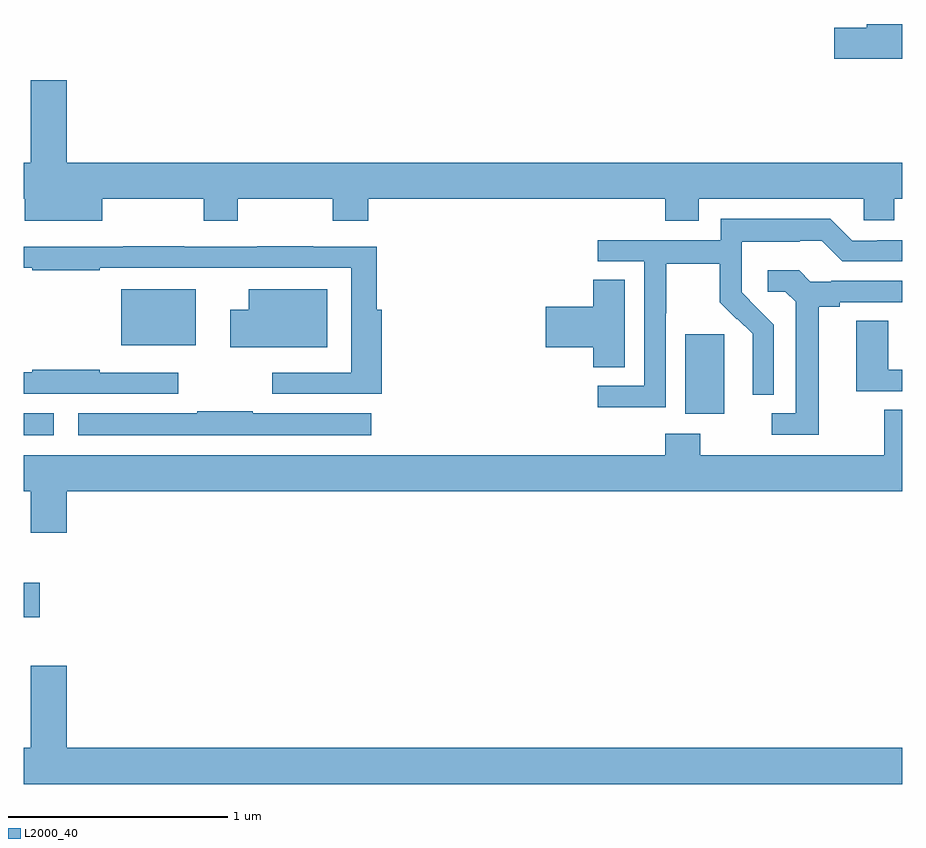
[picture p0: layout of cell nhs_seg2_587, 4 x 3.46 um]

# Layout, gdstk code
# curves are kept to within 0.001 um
import gdstk
lib = gdstk.Library(unit=1e-6, precision=1e-09)
def R(c, l, rs):  # rectangles x0, y0, x1, y1
    for r in rs: c.add(gdstk.rectangle(r[:2], r[2:], *l))
def P(c, l, *ps):  # polygons
    for p in ps: c.add(gdstk.Polygon(p, *l))
L2000_40 = (2000, 40)

nhs_seg2_587 = lib.new_cell('nhs_seg2_587')
R(nhs_seg2_587, L2000_40, [(141,611.099,141.073,611.257), (141,611.927,141.136,612.028), (144.011,612.026,144.19,612.387), (141.443,612.338,141.784,612.592)])
P(nhs_seg2_587, L2000_40, [(145,613.8),(144.839,613.8),(144.839,613.784),(144.69,613.784),(144.69,613.642),(145,613.642)],
  [(141.358,613.004),(141.82,613.004),(141.82,612.905),(141.975,612.905),(141.975,613.004),(142.408,613.004),(142.408,612.905),(142.568,612.905),(142.568,613.004),(143.921,613.004),(143.921,612.905),(144.073,612.905),(144.073,613.004),(144.825,613.004),(144.825,612.906),(144.963,612.906),(144.963,613.004),(145,613.004),(145,613.168),(141.196,613.168),(141.196,613.543),(141.032,613.543),(141.032,613.168),(141,613.168),(141,613.004),(141.005,613.004),(141.005,612.905),(141.358,612.905)],
  [(143.922,612.484),(143.925,612.484),(143.925,612.708),(144.169,612.708),(144.169,612.533),(144.246,612.456),(144.249,612.459),(144.32,612.389),(144.32,612.266),(144.318,612.266),(144.318,612.112),(144.414,612.112),(144.414,612.43),(144.268,612.578),(144.268,612.675),(144.27,612.675),(144.27,612.809),(144.533,612.809),(144.533,612.813),(144.633,612.813),(144.726,612.72),(145,612.72),(145,612.816),(144.887,612.816),(144.887,612.813),(144.771,612.813),(144.671,612.913),(144.174,612.913),(144.174,612.816),(143.613,612.816),(143.613,612.72),(143.826,612.72),(143.826,612.153),(143.613,612.153),(143.613,612.055),(143.922,612.055)],
  [(142.631,612.499),(142.607,612.499),(142.607,612.786),(142.319,612.786),(142.319,612.788),(142.063,612.788),(142.063,612.786),(141.731,612.786),(141.731,612.788),(141.454,612.788),(141.454,612.786),(141,612.786),(141,612.69),(141.04,612.69),(141.04,612.678),(141.347,612.678),(141.347,612.69),(142.491,612.69),(142.491,612.213),(142.131,612.213),(142.131,612.117),(142.631,612.117)],
  [(144.619,612.512),(144.715,612.512),(144.715,612.534),(145,612.534),(145,612.63),(144.676,612.63),(144.676,612.627),(144.582,612.627),(144.53,612.679),(144.387,612.679),(144.387,612.582),(144.468,612.582),(144.515,612.535),(144.515,612.027),(144.405,612.027),(144.405,611.931),(144.619,611.931)],
  [(143.737,612.635),(143.594,612.635),(143.594,612.512),(143.376,612.512),(143.376,612.329),(143.594,612.329),(143.594,612.238),(143.737,612.238)],
  [(142.381,612.592),(142.025,612.592),(142.025,612.499),(141.941,612.499),(141.941,612.329),(142.381,612.329)],
  [(145,612.225),(144.936,612.225),(144.936,612.449),(144.791,612.449),(144.791,612.129),(145,612.129)],
  [(141.703,612.213),(141.347,612.213),(141.347,612.226),(141.04,612.226),(141.04,612.214),(141,612.214),(141,612.117),(141.703,612.117)],
  [(141.196,611.672),(145,611.672),(145,612.044),(144.917,612.044),(144.917,611.836),(144.081,611.836),(144.081,611.935),(143.921,611.935),(143.921,611.836),(141,611.836),(141,611.672),(141.032,611.672),(141.032,611.484),(141.196,611.484)],
  [(142.582,612.028),(142.043,612.028),(142.043,612.038),(141.79,612.038),(141.79,612.028),(141.249,612.028),(141.249,611.927),(142.582,611.927)],
  [(145,610.504),(141.196,610.504),(141.196,610.879),(141.032,610.879),(141.032,610.504),(141,610.504),(141,610.34),(145,610.34)])

lib.write_gds('nhs_seg2_587.gds')
